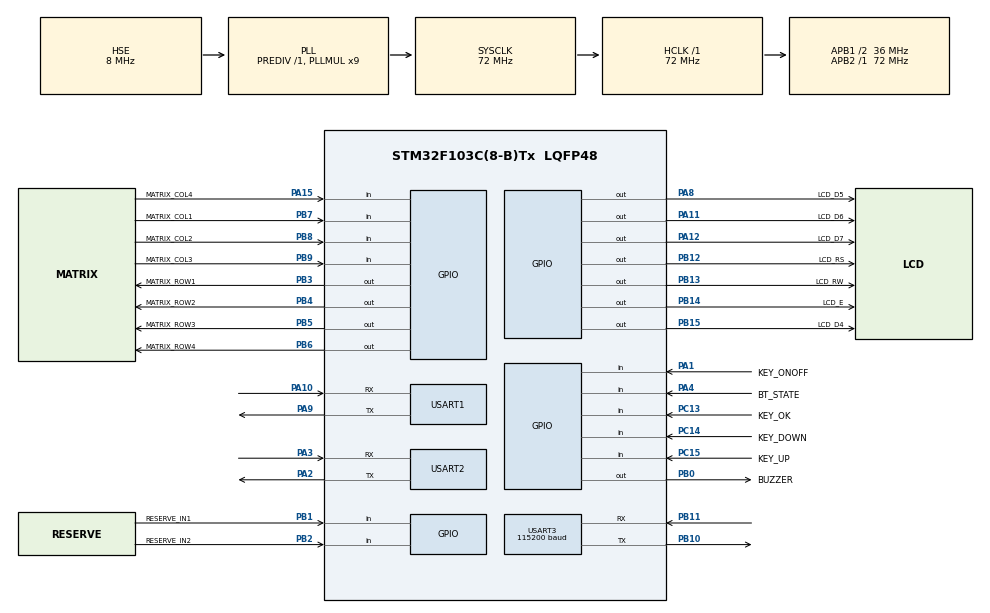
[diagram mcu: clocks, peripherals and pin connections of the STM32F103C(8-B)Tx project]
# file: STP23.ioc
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Mcu.Family=STM32F1
SYS.SwJtagEnabled=SYS_SwJtagEnabled
Mcu.Name=STM32F103C(8-B)Tx
Mcu.Package=LQFP48
NVIC.PriorityGroup=NVIC_PRIORITYGROUP_4
NVIC.TIM2_IRQn=true\:2\:0\:false\:false\:true\:true\:true\:true
NVIC.USART1_IRQn=true\:3\:0\:false\:false\:true\:true\:true\:true
NVIC.USART2_IRQn=true\:1\:0\:false\:false\:true\:true\:true\:true
NVIC.USART3_IRQn=true\:0\:0\:false\:false\:true\:true\:true\:true
PA1.GPIO_Label=KEY_ONOFF
PA1.GPIO_PuPd=GPIO_PULLUP
PA1.Signal=GPIO_Input
PA10.Mode=Asynchronous
PA10.Signal=USART1_RX
PA11.GPIO_Label=LCD_D6
PA11.Signal=GPIO_Output
PA12.GPIO_Label=LCD_D7
PA12.Signal=GPIO_Output
PA13.Mode=Serial_Wire
PA13.Signal=SYS_JTMS-SWDIO
PA14.Mode=Serial_Wire
PA14.Signal=SYS_JTCK-SWCLK
PA15.GPIO_Label=MATRIX_COL4
PA15.GPIO_PuPd=GPIO_PULLUP
PA15.Signal=GPIO_Input
PA2.Mode=Asynchronous
PA2.Signal=USART2_TX
PA3.Mode=Asynchronous
PA3.Signal=USART2_RX
PA4.GPIO_Label=BT_STATE
PA4.GPIO_PuPd=GPIO_PULLDOWN
PA4.Signal=GPIO_Input
PA8.GPIO_Label=LCD_D5
PA8.Signal=GPIO_Output
PA9.Mode=Asynchronous
PA9.Signal=USART1_TX
PB0.GPIO_Label=BUZZER
PB0.Signal=GPIO_Output
PB1.GPIO_Label=RESERVE_IN1
PB1.GPIO_PuPd=GPIO_PULLUP
PB1.Signal=GPIO_Input
PB2.GPIO_Label=RESERVE_IN2
PB2.GPIO_PuPd=GPIO_PULLUP
PB2.Signal=GPIO_Input
PB3.GPIO_Label=MATRIX_ROW1
PB3.Signal=GPIO_Output
PB4.GPIO_Label=MATRIX_ROW2
PB4.Signal=GPIO_Output
PB5.GPIO_Label=MATRIX_ROW3
PB5.Signal=GPIO_Output
PB6.GPIO_Label=MATRIX_ROW4
PB6.Signal=GPIO_Output
PB7.GPIO_Label=MATRIX_COL1
PB7.GPIO_PuPd=GPIO_PULLUP
PB7.Signal=GPIO_Input
PB8.GPIO_Label=MATRIX_COL2
PB8.GPIO_PuPd=GPIO_PULLUP
PB8.Signal=GPIO_Input
PB9.GPIO_Label=MATRIX_COL3
PB9.GPIO_PuPd=GPIO_PULLUP
PB9.Signal=GPIO_Input
PB10.Mode=Asynchronous
PB10.Signal=USART3_TX
PB11.Mode=Asynchronous
PB11.Signal=USART3_RX
PB12.GPIO_Label=LCD_RS
PB12.Signal=GPIO_Output
PB13.GPIO_Label=LCD_RW
PB13.Signal=GPIO_Output
PB14.GPIO_Label=LCD_E
PB14.Signal=GPIO_Output
PB15.GPIO_Label=LCD_D4
PB15.Signal=GPIO_Output
PC13-TAMPER-RTC.GPIO_Label=KEY_OK
PC13-TAMPER-RTC.GPIO_PuPd=GPIO_PULLUP
PC13-TAMPER-RTC.Signal=GPIO_Input
PC14-OSC32_IN.GPIO_Label=KEY_DOWN
PC14-OSC32_IN.GPIO_PuPd=GPIO_PULLUP
PC14-OSC32_IN.Signal=GPIO_Input
PC15-OSC32_OUT.GPIO_Label=KEY_UP
PC15-OSC32_OUT.GPIO_PuPd=GPIO_PULLUP
PC15-OSC32_OUT.Signal=GPIO_Input
PD0-OSC_IN.Mode=HSE-External-Oscillator
PD0-OSC_IN.Signal=RCC_OSC_IN
PD1-OSC_OUT.Mode=HSE-External-Oscillator
PD1-OSC_OUT.Signal=RCC_OSC_OUT
ProjectManager.HeapSize=0x200
ProjectManager.StackSize=0x400
ProjectManager.TargetToolchain=MDK-ARM V5.32
RCC.AHBFreq_Value=72000000
RCC.APB1CLKDivider=RCC_HCLK_DIV2
RCC.APB1Freq_Value=36000000
RCC.APB1TimFreq_Value=72000000
RCC.APB2Freq_Value=72000000
RCC.APB2TimFreq_Value=72000000
RCC.HCLKFreq_Value=72000000
RCC.PLLMUL=RCC_PLL_MUL9
RCC.PLLSourceVirtual=RCC_PLLSOURCE_HSE
RCC.SYSCLKFreq_VALUE=72000000
RCC.SYSCLKSource=RCC_SYSCLKSOURCE_PLLCLK
RCC.USBFreq_Value=72000000
TIM2.AutoReloadPreload=TIM_AUTORELOAD_PRELOAD_ENABLE
TIM2.Period=99
TIM2.Prescaler=7199
USART1.VirtualMode=VM_ASYNC
USART2.VirtualMode=VM_ASYNC
USART3.BaudRate=115200
USART3.VirtualMode=VM_ASYNC
VP_TIM2_VS_ClockSourceINT.Mode=Internal
board=custom

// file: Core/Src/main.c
/* USER CODE BEGIN Header */
/**
  ******************************************************************************
  * @file           : main.c
  * @brief          : Main program body
  ******************************************************************************
  * @attention
  *
  * Copyright (c) 2025 STMicroelectronics.
  * All rights reserved.
  *
  * This software is licensed under terms that can be found in the LICENSE file
  * in the root directory of this software component.
  * If no LICENSE file comes with this software, it is provided AS-IS.
  *
  ******************************************************************************
  */
/* USER CODE END Header */
#include "main.h"
#include "tim.h"
#include "usart.h"
#include "gpio.h"

/* USER CODE BEGIN Includes */
#include "lcd1602.h"
#include "key.h"
#include "bluetooth.h"
#include "matrix_keypad.h"  // 矩阵键盘驱动
#include <stdio.h>
#include <string.h>
#include <stdlib.h>  // for atoi()
/* USER CODE END Includes */

void SystemClock_Config(void);

/* USER CODE BEGIN 0 */

// 全局变量
u16 receive_cnt = 0;         // 接收成功计数
u16 distance = 0;            // 当前距离 (mm)
u16 threshold = 5000;         // 报警阈值 (mm)，默认5000mm
uint8_t system_on = 0;       // 系统开关状态: 0=关闭, 1=开启
uint8_t alarm_on = 0;        // 报警状态: 0=无报警, 1=报警中
uint8_t setting_mode = 0;    // 设置模式: 0=正常显示, 1=设置阈值
uint16_t threshold_temp = 0; // 阈值临时值(设置时使用)

// 蜂鸣器控制
void Buzzer_On(void)
{
    HAL_GPIO_WritePin(BUZZER_GPIO_Port, BUZZER_Pin, GPIO_PIN_SET);
}

void Buzzer_Off(void)
{
    HAL_GPIO_WritePin(BUZZER_GPIO_Port, BUZZER_Pin, GPIO_PIN_RESET);
}

// 读取蓝牙连接状态（通过STATE引脚）
uint8_t BT_Read_State(void)
{
    // STATE引脚: 高电平=已连接, 低电平=未连接
    return (HAL_GPIO_ReadPin(BT_STATE_GPIO_Port, BT_STATE_Pin) == GPIO_PIN_SET) ? 1 : 0;
}

// 显示当前距离和阈值
void Display_Status(void)
{
    char str[17];

    // 第一行显示距离
    LCD1602_SetCursor(0, 0);
    if(system_on) {
        sprintf(str, "Dist:%4dmm     ", distance);
    } else {
        sprintf(str, "System: OFF     ");
    }
    LCD1602_WriteString(str);

    // 第二行显示阈值
    LCD1602_SetCursor(1, 0);
    if(setting_mode) {
        sprintf(str, "Set:%4dmm      ", threshold_temp);
    } else {
        sprintf(str, "Thr:%4dmm      ", threshold);
    }
    LCD1602_WriteString(str);
}

// 蓝牙初始化：清空HC-05启动时产生的数据
void Initialize_Bluetooth(void)
{
    // 给HC-05启动时间
    HAL_Delay(500);

    // 清空接收缓冲区（丢弃HC-05启动时的数据）
    memset(bt_rx_buf, 0, BT_RX_BUF_SIZE);
    bt_rx_index = 0;

    printf("[INIT] Bluetooth initialized, waiting for connection...\r\n");
}

// 通过蓝牙发送数据
void Send_Bluetooth_Data(void)
{
    char buf[50];
    sprintf(buf, "Distance:%dmm,Threshold:%dmm,Alarm:%d\r\n",
            distance, threshold, alarm_on);
    HAL_UART_Transmit(&huart3, (uint8_t*)buf, strlen(buf), 100);
}

// 蓝牙命令处理函数
void Process_Bluetooth_Command(void)
{
    // 检查是否有完整的蓝牙命令接收
    if(bt_rx_index == 0) {
        return;  // 没有数据
    }

    char *cmd = (char*)bt_rx_buf;

    // ⚠️ 蓝牙模块启动时可能发送AT指令,直接忽略
    if(strstr(cmd, "AT") != NULL) {
        printf("[DEBUG] HC-05 AT command received, ignoring: %s\r\n", cmd);
        memset(bt_rx_buf, 0, BT_RX_BUF_SIZE);
        bt_rx_index = 0;
        return;  // 忽略AT指令
    }

    // 连接检测: 蓝牙模块发送"OK"表示连接成功
    if(strstr(cmd, "OK") != NULL || strstr(cmd, "CONNECTED") != NULL) {
        if(!bt_connected) {
            bt_connected = 1;
            system_on = 1;  // 自动开启系统
            Display_Status();
        }
    }

    // 命令格式: "CMD:ON" 或 "CMD:OFF" 控制系统开关
    if(strstr(cmd, "CMD:ON") != NULL) {
        if(!system_on) {
            system_on = 1;
            Display_Status();
        }
        // 回复蓝牙
        HAL_UART_Transmit(&huart3, (uint8_t*)"ACK:ON\r\n", 8, 100);
    }
    else if(strstr(cmd, "CMD:OFF") != NULL) {
        if(system_on) {
            system_on = 0;
            Display_Status();
        }
        HAL_UART_Transmit(&huart3, (uint8_t*)"ACK:OFF\r\n", 9, 100);
    }

    // 命令格式: "SET:THR:500" 设置阈值为500mm
    if(strstr(cmd, "SET:THR:") != NULL) {
        uint16_t new_threshold;
        if(sscanf(cmd, "SET:THR:%hu", &new_threshold) == 1) {
            if(new_threshold <= 9999) {
                threshold = new_threshold;
                printf("[DEBUG] BT CMD: Threshold set to %dmm\r\n", threshold);
                Display_Status();
                // 回复蓝牙
                char ack[30];
                sprintf(ack, "ACK:THR:%d\r\n", threshold);
                HAL_UART_Transmit(&huart3, (uint8_t*)ack, strlen(ack), 100);
            }
        }
    }

    // 命令格式: "GET:STATUS" 获取系统状态
    if(strstr(cmd, "GET:STATUS") != NULL) {
        char status[60];
        sprintf(status, "Status:System=%s,Distance=%dmm,Threshold=%dmm,Alarm=%d\r\n",
                system_on ? "ON" : "OFF", distance, threshold, alarm_on);
        HAL_UART_Transmit(&huart3, (uint8_t*)status, strlen(status), 100);
        printf("[DEBUG] BT CMD: Status sent\r\n");
    }

    // 清除接收缓冲区
    memset(bt_rx_buf, 0, BT_RX_BUF_SIZE);
    bt_rx_index = 0;
}

// 检查蓝牙连接状态 (通过STATE引脚实时检测)
void Check_Bluetooth_Connection(void)
{
    static uint8_t last_state = 0;
    uint8_t current_state = BT_Read_State();

    // 检测状态变化
    if(current_state != last_state) {
        last_state = current_state;

        if(current_state) {
            // 连接成功
            bt_connected = 1;
            system_on = 1;  // 自动开启系统
            printf("[BT] Connected (STATE pin HIGH)\r\n");
            Display_Status();
        } else {
            // 断开连接
            bt_connected = 0;
            printf("[BT] Disconnected (STATE pin LOW)\r\n");
        }
    }
}

// 串口1调试信息输出
void Print_Debug_Info(void)
{
    static uint32_t last_print_time = 0;

    // 每秒打印一次调试信息
    if(HAL_GetTick() - last_print_time >= 1000) {
        last_print_time = HAL_GetTick();

        printf("\n=== SYSTEM DEBUG INFO ===\r\n");
        printf("Time: %lums\r\n", HAL_GetTick());
        printf("Distance: %dmm\r\n", distance);
        printf("Threshold: %dmm\r\n", threshold);
        printf("System: %s\r\n", system_on ? "ON" : "OFF");
        printf("Alarm: %s\r\n", alarm_on ? "ALARMING" : "NORMAL");
        printf("Setting: %s\r\n", setting_mode ? "YES" : "NO");
        printf("BT Connected: %s (STATE pin: %s)\r\n",
               bt_connected ? "YES" : "NO",
               BT_Read_State() ? "HIGH" : "LOW");
        printf("LiDAR Frames Received: %d\r\n", receive_cnt);
        printf("========================\r\n");
    }
}

// 处理报警逻辑
void Process_Alarm(void)
{
    if(system_on && distance > 0) {
        if(distance > threshold) {
            alarm_on = 1;
            Buzzer_On();
        } else {
            alarm_on = 0;
            Buzzer_Off();
        }
    } else {
        alarm_on = 0;
        Buzzer_Off();
    }
}

// 按键处理函数
void Process_Keys(void)
{
    uint8_t key = KEY_Scan();

    if(key == KEY_NONE) {
        return;
    }

    printf("[KEYS] Independent key pressed: %d\r\n", key);

    // KEY_ONOFF按键 - 系统开关切换（既可以开机也可以关机）
    if(key == KEY_ONOFF) {
        printf("[KEYS] KEY_ONOFF pressed, system_on=%d\r\n", system_on);

        system_on = !system_on;

        if (system_on) {
            printf("[KEYS] System ON (toggled)\r\n");
            LCD1602_Clear();
            LCD1602_SetCursor(0, 0);
            LCD1602_WriteString("System: ON");
            HAL_Delay(1000);
        } else {
            alarm_on = 0;
            Buzzer_Off();
            printf("[KEYS] System OFF (toggled)\r\n");
            LCD1602_Clear();
            LCD1602_SetCursor(0, 0);
            LCD1602_WriteString("System: OFF");
            HAL_Delay(1000);
        }

        Display_Status();
        return;
    }

    // 确认按键 - 进入/退出设置模式
    if(key == KEY_OK) {
        if(setting_mode) {
            // 确认设置，保存阈值
            threshold = threshold_temp;
            setting_mode = 0;
        } else {
            // 进入设置模式
            setting_mode = 1;
            threshold_temp = threshold;
        }
        Display_Status();
        HAL_Delay(200);
        return;
    }

    // UP/DOWN键 - 在设置模式下调整阈值
    if(setting_mode) {
        if(key == KEY_UP) {
            threshold_temp += 10; // 每次增加10mm
            if(threshold_temp > 9999) threshold_temp = 9999;
            Display_Status();
            HAL_Delay(100);
        }
        else if(key == KEY_DOWN) {
            if(threshold_temp >= 10) {
                threshold_temp -= 10; // 每次减少10mm
            }
            Display_Status();
            HAL_Delay(100);
        }
    }
}

// 矩阵键盘处理函数
static void Process_Matrix_Keypad(void)
{
    static char input_buffer[5] = {0};     // 输入缓冲区（最多4位数字 + '\0'）
    static uint8_t input_index = 0;        // 当前输入位置
    // 注意: 使用全局变量setting_mode替代局部变量input_mode，确保主循环能正确判断

    uint8_t key = Matrix_Keypad_GetKey();

    if (key == MATRIX_KEY_NONE) {
        return;
    }

    char key_char = Matrix_Keypad_GetChar(key);

    // 判断数字键: 明确列举所有数字键，排除A/B/C/D键
    // 数字键: 1=16, 2=15, 3=14, 4=12, 5=11, 6=10, 7=8, 8=7, 9=6, 0=3
    // 特殊键: A=13, B=9, C=5, D=1 (不是数字键)
    uint8_t is_digit_key = (key == MATRIX_KEY_1 || key == MATRIX_KEY_2 || key == MATRIX_KEY_3 ||
                            key == MATRIX_KEY_4 || key == MATRIX_KEY_5 || key == MATRIX_KEY_6 ||
                            key == MATRIX_KEY_7 || key == MATRIX_KEY_8 || key == MATRIX_KEY_9 ||
                            key == MATRIX_KEY_0);

    printf("[MATRIX] Key: %d (%c) - is_digit_key=%d, setting_mode=%d\r\n", key, key_char, is_digit_key, setting_mode);

    // 调试: 打印按键检测状态和A/B键的值
    printf("[DEBUG] MATRIX_KEY_A=%d, MATRIX_KEY_B=%d, MATRIX_KEY_C=%d, MATRIX_KEY_D=%d\r\n",
           MATRIX_KEY_A, MATRIX_KEY_B, MATRIX_KEY_C, MATRIX_KEY_D);

    // 注意: 不要在这里调用Display_Status()，会覆盖C键设置的界面
    // 每个按键处理函数会在需要时自己调用Display_Status()

    // ==================== 数字键处理 (0-9) ====================

    if (is_digit_key) {
        if (!setting_mode) {
            // 不在输入模式时，数字键无效，静默忽略（不显示提示）
            printf("[MATRIX] Not in setting mode, digit key ignored\r\n");
            return;
        }

        // 在输入模式下，累积数字输入
        if (input_index < 4) {
            input_buffer[input_index++] = key_char;
            input_buffer[input_index] = '\0';

            // 调试输出
            printf("[INPUT] Threshold input: %s\r\n", input_buffer);

            // 组合完整字符串后一次性写入LCD
            char display_buf[17];
            sprintf(display_buf, "Input: %s mm    ", input_buffer);
            LCD1602_SetCursor(1, 0);
            LCD1602_WriteString(display_buf);
        } else {
            // 已达到最大长度（4位）
            LCD1602_SetCursor(1, 0);
            LCD1602_WriteString("Max 4 digits!   ");
            HAL_Delay(500);

            // 恢复显示当前输入
            char display_buf[17];
            sprintf(display_buf, "Input: %s mm    ", input_buffer);
            LCD1602_SetCursor(1, 0);
            LCD1602_WriteString(display_buf);
        }
        return;
    }

    // ==================== # 键: 确认输入 ====================
    if (key == MATRIX_KEY_HASH) {
        if (setting_mode && input_index > 0) {
            // 转换输入为整数
            uint16_t new_threshold = atoi(input_buffer);

            if (new_threshold >= 10 && new_threshold <= 9999) {
                threshold = new_threshold;
                printf("[MATRIX] Threshold set to: %d mm\r\n", threshold);

                // 显示确认信息
                LCD1602_Clear();
                LCD1602_SetCursor(0, 0);
                LCD1602_WriteString("Threshold Set:");
                LCD1602_SetCursor(1, 0);
                char buf[17];
                sprintf(buf, "%d mm", threshold);
                LCD1602_WriteString(buf);
                HAL_Delay(1500);
            } else {
                // 无效输入
                LCD1602_Clear();
                LCD1602_SetCursor(0, 0);
                LCD1602_WriteString("Invalid! (10-9999)");
                HAL_Delay(1500);
            }

            // 退出输入模式，返回正常显示
            setting_mode = 0;
            input_index = 0;
            memset(input_buffer, 0, sizeof(input_buffer));
            Display_Status();
        }
        return;
    }

    // ==================== * 键: 取消输入 ====================
    if (key == MATRIX_KEY_STAR) {
        if (setting_mode) {
            // 清空输入缓冲区
            setting_mode = 0;
            input_index = 0;
            memset(input_buffer, 0, sizeof(input_buffer));

            // 返回正常显示
            Display_Status();
            printf("[MATRIX] Input cancelled\r\n");
        } else {
            // 在非输入模式下，* 键作为清空/复位功能
            LCD1602_Clear();
            LCD1602_SetCursor(0, 0);
            LCD1602_WriteString("Display Cleared");
            HAL_Delay(1000);
            Display_Status();
        }
        return;
    }

    // ==================== A 键: 系统开机 ====================
    if (key == MATRIX_KEY_A) {
        printf("[MATRIX] A key pressed, system_on=%d\r\n", system_on);

        if (!system_on) {
            system_on = 1;
            printf("[MATRIX] System ON\r\n");

            LCD1602_Clear();
            LCD1602_SetCursor(0, 0);
            LCD1602_WriteString("System: ON");
            HAL_Delay(1000);
            Display_Status();
        } else {
            // 系统已经开启，给出提示
            printf("[MATRIX] System already ON\r\n");
        }
        return;
    }

    // ==================== B 键: 系统关机 ====================
    if (key == MATRIX_KEY_B) {
        printf("[MATRIX] B key pressed, system_on=%d\r\n", system_on);

        if (system_on) {
            system_on = 0;
            alarm_on = 0;
            Buzzer_Off();
            printf("[MATRIX] System OFF\r\n");

            LCD1602_Clear();
            LCD1602_SetCursor(0, 0);
            LCD1602_WriteString("System: OFF");
            HAL_Delay(1000);
            Display_Status();
        } else {
            // 系统已经关闭，给出提示
            printf("[MATRIX] System already OFF\r\n");
        }
        return;
    }

    // ==================== C 键: 进入阈值设置模式 ====================
    if (key == MATRIX_KEY_C) {
        if (!setting_mode) {
            // 进入阈值设置模式
            setting_mode = 1;
            input_index = 0;
            memset(input_buffer, 0, sizeof(input_buffer));

            printf("[MATRIX] Enter threshold setting mode, setting_mode=%d\r\n", setting_mode);

            // LCD显示提示
            LCD1602_Clear();
            HAL_Delay(10);
            LCD1602_SetCursor(0, 0);
            LCD1602_WriteString("Set Threshold:");
            LCD1602_SetCursor(1, 0);
            LCD1602_WriteString("Input: _ mm");

            printf("[MATRIX] LCD display set completed\r\n");
        } else {
            // 已在输入模式，不做处理
            printf("[MATRIX] Already in setting mode\r\n");
        }
        return;
    }

    // ==================== D 键: 查看系统信息 + 蜂鸣提示 ====================
    if (key == MATRIX_KEY_D) {
        printf("[MATRIX] System Info Display with Buzzer\r\n");

        // 蜂鸣器提示音（表示进入信息显示模式）
        Buzzer_On();
        HAL_Delay(100);
        Buzzer_Off();
        HAL_Delay(100);

        // 循环显示系统信息
        char buf[17];

        // 第1屏: 距离和阈值
        LCD1602_Clear();
        LCD1602_SetCursor(0, 0);
        sprintf(buf, "Dist:%4dmm", distance);
        LCD1602_WriteString(buf);
        LCD1602_SetCursor(1, 0);
        sprintf(buf, "Thr:%4dmm", threshold);
        LCD1602_WriteString(buf);
        HAL_Delay(2000);

        // 第2屏: 系统状态
        LCD1602_Clear();
        LCD1602_SetCursor(0, 0);
        LCD1602_WriteString(system_on ? "System: ON" : "System: OFF");
        LCD1602_SetCursor(1, 0);
        LCD1602_WriteString(alarm_on ? "Alarm: ACTIVE" : "Alarm: NORMAL");
        HAL_Delay(2000);

        // 第3屏: 蓝牙状态
        LCD1602_Clear();
        LCD1602_SetCursor(0, 0);
        LCD1602_WriteString("Bluetooth:");
        LCD1602_SetCursor(1, 0);
        LCD1602_WriteString(bt_connected ? "Connected" : "Disconnected");
        HAL_Delay(2000);

        // 蜂鸣器结束提示音
        Buzzer_On();
        HAL_Delay(100);
        Buzzer_Off();

        // 返回正常显示
        Display_Status();
        return;
    }
}

/* USER CODE END 0 */

int main(void)
{

  /* MCU Configuration--------------------------------------------------------*/

  /* Reset of all peripherals, Initializes the Flash interface and the Systick. */
  HAL_Init();

  /* Configure the system clock */
  SystemClock_Config();

  /* Initialize all configured peripherals */
  MX_GPIO_Init();
  MX_USART1_UART_Init();
  MX_USART3_UART_Init();
  MX_TIM2_Init();
  MX_USART2_UART_Init();
  /* USER CODE BEGIN 2 */

  // 初始化LCD1602
  LCD1602_Init();
  LCD1602_Clear();

  // 初始化按键
  KEY_Init();

  // 初始化矩阵键盘
  Matrix_Keypad_Init();
  printf("[INIT] Matrix Keypad initialized\r\n");

  // 初始化蜂鸣器
  Buzzer_Off();

  // 初始化蓝牙模块
  Initialize_Bluetooth();

  // 显示欢迎信息
  LCD1602_SetCursor(0, 0);
  LCD1602_WriteString("Laser Distance");
  LCD1602_SetCursor(1, 0);
  LCD1602_WriteString("  Measurement  ");
  HAL_Delay(2000);
  LCD1602_Clear();

  // 初始显示
  Display_Status();

  printf("Laser Distance Measurement System Started\r\n");

  // 启动定时器
  HAL_TIM_Base_Start_IT(&htim2);

  /* USER CODE END 2 */

  /* Infinite loop */
  /* USER CODE BEGIN WHILE */

  uint32_t last_update_time = 0;
  uint32_t last_bt_time = 0;
  uint32_t last_key_scan_time = 0;  // 矩阵键盘扫描时间戳

  while (1)
  {
    /* USER CODE END WHILE */

    /* USER CODE BEGIN 3 */

    // 处理独立按键
    Process_Keys();

    // 处理矩阵键盘 (每2ms扫描一次，提高响应速度)
    if (HAL_GetTick() - last_key_scan_time >= 2) {
        last_key_scan_time = HAL_GetTick();
        Process_Matrix_Keypad();
    }

    // 处理蓝牙命令
    Process_Bluetooth_Command();

    // 检查蓝牙连接状态
    Check_Bluetooth_Connection();

    // 每100ms更新一次显示和报警检测
    if(HAL_GetTick() - last_update_time >= 100) {
        last_update_time = HAL_GetTick();

        if(!setting_mode) {
            printf("[MAIN] Calling Display_Status() (setting_mode=%d)\r\n", setting_mode);
            Display_Status();
        } else {
            printf("[MAIN] Skip Display_Status() in setting mode\r\n");
        }

        // 处理报警逻辑
        Process_Alarm();
    }

    // 每1秒通过蓝牙发送一次数据
    if(HAL_GetTick() - last_bt_time >= 1200) {
        last_bt_time = HAL_GetTick();

        if(system_on) {
            Send_Bluetooth_Data();
        }

        // 每秒打印一次调试信息
        Print_Debug_Info();
    }

    HAL_Delay(1); // 主循环延时
  }
  /* USER CODE END 3 */
}

void SystemClock_Config(void)
{
  RCC_OscInitTypeDef RCC_OscInitStruct = {0};
  RCC_ClkInitTypeDef RCC_ClkInitStruct = {0};

  /** Initializes the RCC Oscillators according to the specified parameters
  * in the RCC_OscInitTypeDef structure.
  */
  RCC_OscInitStruct.OscillatorType = RCC_OSCILLATORTYPE_HSE;
  RCC_OscInitStruct.HSEState = RCC_HSE_ON;
  RCC_OscInitStruct.HSEPredivValue = RCC_HSE_PREDIV_DIV1;
  RCC_OscInitStruct.HSIState = RCC_HSI_ON;
  RCC_OscInitStruct.PLL.PLLState = RCC_PLL_ON;
  RCC_OscInitStruct.PLL.PLLSource = RCC_PLLSOURCE_HSE;
  RCC_OscInitStruct.PLL.PLLMUL = RCC_PLL_MUL9;
  if (HAL_RCC_OscConfig(&RCC_OscInitStruct) != HAL_OK)
  {
    Error_Handler();
  }

  /** Initializes the CPU, AHB and APB buses clocks
  */
  RCC_ClkInitStruct.ClockType = RCC_CLOCKTYPE_HCLK|RCC_CLOCKTYPE_SYSCLK
                              |RCC_CLOCKTYPE_PCLK1|RCC_CLOCKTYPE_PCLK2;
  RCC_ClkInitStruct.SYSCLKSource = RCC_SYSCLKSOURCE_PLLCLK;
  RCC_ClkInitStruct.AHBCLKDivider = RCC_SYSCLK_DIV1;
  RCC_ClkInitStruct.APB1CLKDivider = RCC_HCLK_DIV2;
  RCC_ClkInitStruct.APB2CLKDivider = RCC_HCLK_DIV1;

  if (HAL_RCC_ClockConfig(&RCC_ClkInitStruct, FLASH_LATENCY_2) != HAL_OK)
  {
    Error_Handler();
  }
}

void Error_Handler(void)
{
  __disable_irq();
  while (1)
  {
  }
}
